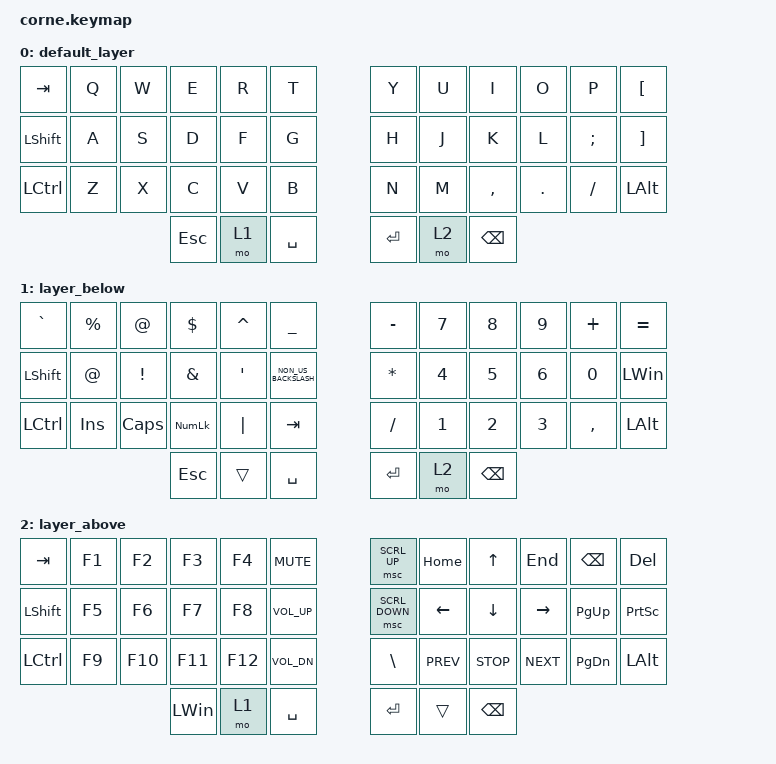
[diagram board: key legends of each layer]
/*
 * Copyright (c) 2020 The ZMK Contributors
 *
 * SPDX-License-Identifier: MIT
 */

#include <behaviors.dtsi>
#include <dt-bindings/zmk/keys.h>
#include <dt-bindings/zmk/pointing.h>

/ {
    behaviors {
        tp: tap_preferred {
            compatible = "zmk,behavior-hold-tap";
            label = "TAP_PREFERRED";
            #binding-cells = <2>;
            tapping-term-ms = <150>;
            quick-tap-ms = <0>;
            flavor = "tap-preferred";
            bindings = <&kp>, <&kp>;
        };
    };

    keymap {
        compatible = "zmk,keymap";

        default_layer {
            // -----------------------------------------------------------------------------------------
            // | TAB  |  Q  |  W  |  E  |  R  |    T    |   |  Y  |  U   |  I  |  O  |  P  | ESC |
            // | CTRL |  A  |  S  |  D  |  F  |    G    |   |  H  |  J   |  K  |  L  |  ;  |  LWR/'   |
            // | SHFT |  Z  |  X  |  C  |  V  |    B    |   |  N  |  M   |  ,  |  .  |  /  | SHFT |
            //                    | GUI | LWR | ALT/ENT |   | HYPER/SPC | BKSP  | RSE |

            bindings = <
&kp TAB         &kp Q  &kp W  &kp E       &kp R  &kp T        &kp Y    &kp U  &kp I          &kp O    &kp P     &kp LEFT_BRACKET
&kp LEFT_SHIFT  &kp A  &kp S  &kp D       &kp F  &kp G        &kp H    &kp J  &kp K          &kp L    &kp SEMI  &kp RIGHT_BRACKET
&kp LCTRL       &kp Z  &kp X  &kp C       &kp V  &kp B        &kp N    &kp M  &kp COMMA      &kp DOT  &kp FSLH  &kp LEFT_ALT
                              &kp ESCAPE  &mo 1  &kp SPACE    &kp RET  &mo 2  &kp BACKSPACE
            >;
        };

        layer_below {
            // -----------------------------------------------------------------------------------------
            // |      |  !  |  @  |  #  |  $  |    %     |   |  ^  |  &  |  *  |  (  |  )  |   \   |
            // |      |  1  |  2  |  3  |  4  |    5     |   |  -  |  =  |  `  |  [  |  ]  |  "|"  |
            // | SHFT |  6  |  7  |  8  |  9  |    0     |   |  _  |  +  |  ~  |  {  |  }  | RSHFT |
            //                     | GUI |     | ALT/ENT |   | HYPER/SPACE | BKSP |    |

            bindings = <
&kp GRAVE       &kp PERCENT  &kp AT           &kp DOLLAR      &kp CARET  &kp UNDERSCORE          &kp MINUS     &kp N7        &kp N8         &kp N9        &kp PLUS   &kp EQUAL
&kp LEFT_SHIFT  &kp AT_SIGN  &kp EXCLAMATION  &kp AMPERSAND   &kp SQT    &kp NON_US_BACKSLASH    &kp ASTERISK  &kp NUMBER_4  &kp N5         &kp NUMBER_6  &kp N0     &kp LEFT_WIN
&kp LCTRL       &kp INSERT   &kp CAPSLOCK     &kp KP_NUMLOCK  &kp PIPE   &kp TAB                 &kp SLASH     &kp NUMBER_1  &kp NUMBER_2   &kp NUMBER_3  &kp COMMA  &kp LEFT_ALT
                                              &kp ESCAPE      &trans     &kp SPACE               &kp RET       &mo 2         &kp BACKSPACE
            >;
        };

        layer_above {
            // -----------------------------------------------------------------------------------------
            // |       |  F1  |  F2  |  F3  |  F4  |  F5 |            |  F6  |  F7  |  F8  |  F9  |  F10  |   |
            // |       | Prev | Next | Vol - | Vol + | Play/Pause |   |      | LFT | DWN |  UP | RGT |     |     |
            // | BTCLR | BT1 | BT2 | BT3 | BT4 | BT5 |   |            |     |     |     |     |     |     |
            //                    |     |     |    |                  |     |     |     |

            bindings = <
&kp TAB         &kp F1  &kp F2   &kp F3        &kp F4   &kp K_MUTE      &msc SCRL_UP    &kp HOME    &kp UP_ARROW    &kp END     &kp BACKSPACE  &kp DELETE
&kp LEFT_SHIFT  &kp F5  &kp F6   &kp F7        &kp F8   &kp C_VOL_UP    &msc SCRL_DOWN  &kp LEFT    &kp DOWN_ARROW  &kp RIGHT   &kp PAGE_UP    &kp PRINTSCREEN
&kp LCTRL       &kp F9  &kp F10  &kp F11       &kp F12  &kp C_VOL_DN    &kp BACKSLASH   &kp C_PREV  &kp K_STOP      &kp C_NEXT  &kp PAGE_DOWN  &kp LEFT_ALT
                                 &kp LEFT_WIN  &mo 1    &kp SPACE       &kp RET         &trans      &kp BACKSPACE
            >;
        };
    };
};
